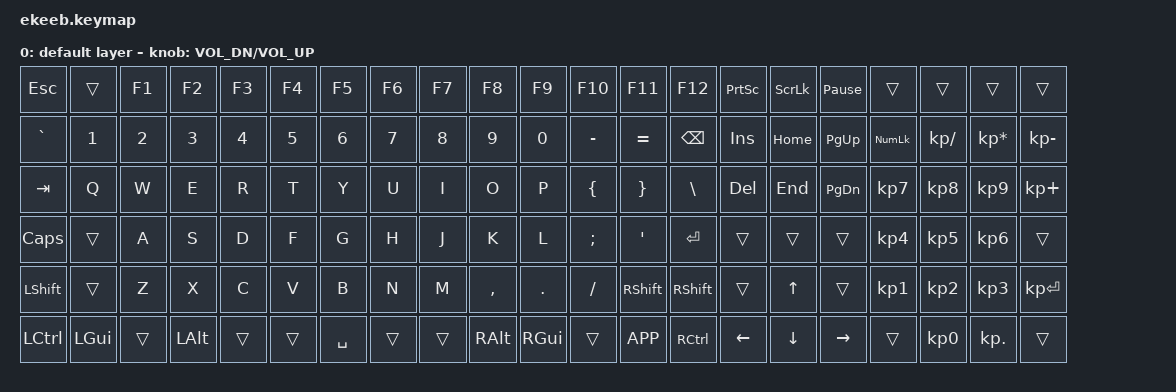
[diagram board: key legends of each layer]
/*
 * Copyright (c) 2021 The ZMK Contributors
 *
 * SPDX-License-Identifier: MIT
 */

#include <behaviors.dtsi>
#include <dt-bindings/zmk/keys.h>
#include <dt-bindings/zmk/bt.h>


#define TIMEOUT 300

&encoder_1 {
    status = "okay";
};

/ {
    combos {
        compatible = "zmk,combos";
        combo_btclr {
            timeout-ms = <TIMEOUT>;
            key-positions = <0 3>;
            bindings = <&bt BT_CLR>;
        };
        /*combo_reset {
            timeout-ms = <TIMEOUT>;
            key-positions = <0 1>;
            bindings = <&reset>;
        };devicetree error: /combos/combo_reset: undefined node label 'reset' */
        combo_bootloader {
            timeout-ms = <TIMEOUT>;
            key-positions = <0 2>;
            bindings = <&bootloader>;
        };
        combo_bt_nxt {
            timeout-ms = <TIMEOUT>;
            key-positions = <0 4>;
            bindings = <&bt BT_NXT>;
        };
        combo_mute {
            timeout-ms = <TIMEOUT>;
            key-positions = <0 5>;
            bindings = <&kp C_MUTE>;
        };
        combo_bt1 {
            timeout-ms = <TIMEOUT>;
            key-positions = <0 6>;
            bindings = <&bt BT_SEL 0>;
        };
        combo_bt2 {
            timeout-ms = <TIMEOUT>;
            key-positions = <0 7>;
            bindings = <&bt BT_SEL 1>;
        };
        combo_bt3 {
            timeout-ms = <TIMEOUT>;
            key-positions = <0 8>;
            bindings = <&bt BT_SEL 2>;
        };
        combo_bt4 {
            timeout-ms = <TIMEOUT>;
            key-positions = <0 9>;
            bindings = <&bt BT_SEL 3>;
        };
        combo_bt5 {
            timeout-ms = <TIMEOUT>;
            key-positions = <0 10>;
            bindings = <&bt BT_SEL 4>;
        };
    };
    
    sensors {
        compatible = "zmk,keymap-sensors";
        sensors = <&encoder_1>;
    };


    keymap0: keymap {
        compatible = "zmk,keymap";

        default_layer {
            label = "default layer";
            bindings = <
                &kp ESC     &trans    &kp F1  &kp F2    &kp F3  &kp F4  &kp F5     &kp F6  &kp F7  &kp F8     &kp F9    &kp F10    &kp F11     &kp F12       &kp PSCRN  &kp SLCK  &kp PAUSE_BREAK    &trans      &trans        &trans           &trans     
                &kp GRAVE   &kp N1    &kp N2  &kp N3    &kp N4  &kp N5  &kp N6     &kp N7  &kp N8  &kp N9     &kp N0    &kp MINUS  &kp EQUAL   &kp BSPC      &kp INS    &kp HOME  &kp PG_UP          &kp KP_NUM  &kp KP_SLASH  &kp KP_ASTERISK  &kp KP_MINUS 
                &kp TAB     &kp Q     &kp W   &kp E     &kp R   &kp T   &kp Y      &kp U   &kp I   &kp O      &kp P     &kp LBRC   &kp RBRC    &kp BSLH      &kp DEL    &kp END   &kp PG_DN          &kp KP_N7   &kp KP_N8     &kp KP_N9        &kp KP_PLUS 
                &kp CAPS    &trans    &kp A   &kp S     &kp D   &kp F   &kp G      &kp H   &kp J   &kp K      &kp L     &kp SEMI   &kp APOS    &kp ENTER     &trans     &trans    &trans             &kp KP_N4   &kp KP_N5     &kp KP_N6        &trans     
                &kp LSHIFT  &trans    &kp Z   &kp X     &kp C   &kp V   &kp B      &kp N   &kp M   &kp COMMA  &kp DOT   &kp SLASH  &kp RSHIFT  &kp RSHIFT    &trans     &kp UP    &trans             &kp KP_N1   &kp KP_N2     &kp KP_N3        &kp KP_ENTER 
                &kp LCTRL   &kp LGUI  &trans  &kp LALT  &trans  &trans  &kp SPACE  &trans  &trans  &kp RALT   &kp RGUI  &trans     &kp K_APP   &kp RCTRL     &kp LEFT   &kp DOWN  &kp RIGHT          &trans      &kp KP_N0     &kp KP_DOT       &trans    
            >;
            sensor-bindings = <&inc_dec_kp C_VOL_DN C_VOL_UP>;

        }; 
        
    };
};
